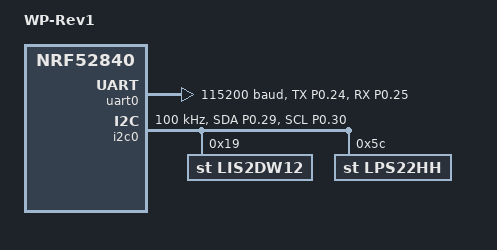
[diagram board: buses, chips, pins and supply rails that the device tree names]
// Copyright (c) 2022 Nordic Semiconductor ASA
// SPDX-License-Identifier: Apache-2.0

/dts-v1/;
#include <nordic/nrf52840_qiaa.dtsi>

/ {
	model = "WP-Rev1";
	compatible = "nordic,wepower,wp-rev1";

	chosen {
        zephyr,console = &uart0;
		zephyr,shell-uart = &uart0;
		zephyr,uart-mcumgr = &uart0;
		zephyr,bt-mon-uart = &uart0;
		zephyr,bt-c2h-uart = &uart0;
		zephyr,sram = &sram0;
		zephyr,flash = &flash0;
		zephyr,code-partition = &slot0_partition;
        zephyr,entropy = &rng;
        zephyr,i2c = &i2c0;
	};
};

&pinctrl {
	uart0_default: uart0_default {
		group1 {
			psels = <NRF_PSEL(UART_TX, 0, 24)>,
				<NRF_PSEL(UART_RX, 0, 25)>;
				// <NRF_PSEL(UART_RTS, 0, 17)>,
				// <NRF_PSEL(UART_CTS, 0, 18)>;
		};
	};

	uart0_sleep: uart0_sleep {
		group1 {
			psels = <NRF_PSEL(UART_TX, 0, 24)>,
				<NRF_PSEL(UART_RX, 0, 25)>;
				// <NRF_PSEL(UART_RTS, 0, 17)>,
				// <NRF_PSEL(UART_CTS, 0, 18)>;
			low-power-enable;
		};
	};

	i2c0_default: i2c0_default {
		group1 {
            psels = <NRF_PSEL(TWIM_SDA, 0, 29)>, <NRF_PSEL(TWIM_SCL, 0, 30)>;
			//psels = <NRF_PSEL(TWIM_SDA, 0, 16)>,<NRF_PSEL(TWIM_SCL, 0, 15)>;
                //bias-pull-down;
		};
	};

	i2c0_sleep: i2c0_sleep {
		group1 {
            psels = <NRF_PSEL(TWIM_SDA, 0, 29)>, <NRF_PSEL(TWIM_SCL, 0, 30)>;
			//psels = <NRF_PSEL(TWIM_SDA, 0, 16)>,<NRF_PSEL(TWIM_SCL, 0, 15)>;
                //bias-pull-down;
		};
	};

    // i2c1_default: i2c1_default {
	// 	group1 {
	// 		psels = <NRF_PSEL(TWIM_SDA, 1, 13)>, <NRF_PSEL(TWIM_SCL, 0, 29)>;
    //         //psels = <NRF_PSEL(TWIM_SDA, 0, 29)>, <NRF_PSEL(TWIM_SCL, 1, 13)>;
    //             //bias-pull-down;
	// 	};
	// };

	// i2c1_sleep: i2c1_sleep {
	// 	group1 {
	// 		psels = <NRF_PSEL(TWIM_SDA, 1, 13)>, <NRF_PSEL(TWIM_SCL, 0, 29)>;
    //         //psels = <NRF_PSEL(TWIM_SDA, 0, 29)>, <NRF_PSEL(TWIM_SCL, 1, 13)>;
    //             //bias-pull-down;
	// 	};
	// };
};

&flash0 {
	partitions {
		compatible = "fixed-partitions";
		#address-cells = <1>;
		#size-cells = <1>;

		boot_partition: partition@0 {
			label = "mcuboot";
			reg = <0x00000000 0x0000C000>;
		};
		slot0_partition: partition@c000 {
			label = "image-0";
			reg = <0x0000C000 0x00067000>;
		};
		slot1_partition: partition@73000 {
			label = "image-1";
			reg = <0x00073000 0x00067000>;
		};
		scratch_partition: partition@da000 {
			label = "image-scratch";
			reg = <0x000da000 0x0001e000>;
		};

		/*
		 * The flash starting at 0x000f8000 and ending at
		 * 0x000fffff is reserved for use by the application.
		 */

		/*
		 * Storage partition will be used by FCB/LittleFS/NVS
		 * if enabled.
		 */
		storage_partition: partition@f8000 {
			label = "storage";
			reg = <0x000f8000 0x00008000>;
		};
	};
};

&adc {
	status = "disabled";
};

&gpiote {
	status = "okay";
};

&gpio0 {
	status = "okay";
};

&gpio1 {
	status = "okay";
};

&uart0 {
	compatible = "nordic,nrf-uarte";
	status = "okay";
	current-speed = <115200>;
	pinctrl-0 = <&uart0_default>;
	pinctrl-1 = <&uart0_sleep>;
	pinctrl-names = "default", "sleep";
};

&i2c0 {
	compatible = "nordic,nrf-twim";
	status = "okay";
    clock-frequency = <I2C_BITRATE_STANDARD>;
	pinctrl-0 = <&i2c0_default>;
	pinctrl-1 = <&i2c0_sleep>;
	pinctrl-names = "default", "sleep";

    accel: lis2dw12@19 {
        compatible = "st,lis2dw12";
        reg = <0x19>;
        status = "okay";
        label = "LIS2DW12";
    };

    temp_pressure: st_lps22hh@5c {
        compatible = "st,lps22hh";
        reg = <0x5c>;
        status = "okay";
        label = "LPS22HH";
    };
};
